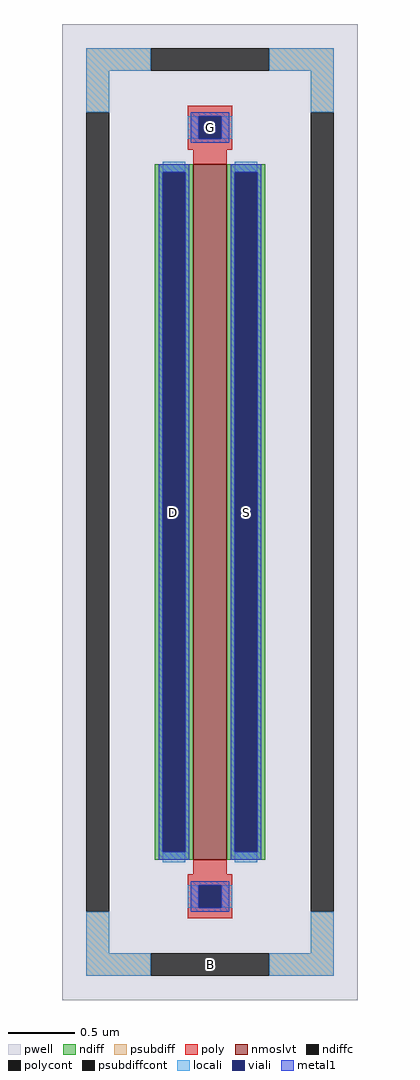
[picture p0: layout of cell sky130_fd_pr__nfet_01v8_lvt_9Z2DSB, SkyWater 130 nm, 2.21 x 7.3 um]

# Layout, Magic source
magic
tech sky130A
magscale 1 2
<< pwell >>
rect -221 -730 221 730
<< nmoslvt >>
rect -25 -520 25 520
<< ndiff >>
rect -83 508 -25 520
rect -83 -508 -71 508
rect -37 -508 -25 508
rect -83 -520 -25 -508
rect 25 508 83 520
rect 25 -508 37 508
rect 71 -508 83 508
rect 25 -520 83 -508
<< ndiffc >>
rect -71 -508 -37 508
rect 37 -508 71 508
<< psubdiff >>
rect -185 660 -89 694
rect 89 660 185 694
rect -185 598 -151 660
rect 151 598 185 660
rect -185 -660 -151 -598
rect 151 -660 185 -598
rect -185 -694 -89 -660
rect 89 -694 185 -660
<< psubdiffcont >>
rect -89 660 89 694
rect -185 -598 -151 598
rect 151 -598 185 598
rect -89 -694 89 -660
<< poly >>
rect -33 592 33 608
rect -33 558 -17 592
rect 17 558 33 592
rect -33 542 33 558
rect -25 520 25 542
rect -25 -542 25 -520
rect -33 -558 33 -542
rect -33 -592 -17 -558
rect 17 -592 33 -558
rect -33 -608 33 -592
<< polycont >>
rect -17 558 17 592
rect -17 -592 17 -558
<< locali >>
rect -185 660 -89 694
rect 89 660 185 694
rect -185 598 -151 660
rect 151 598 185 660
rect -33 558 -17 592
rect 17 558 33 592
rect -71 508 -37 524
rect -71 -524 -37 -508
rect 37 508 71 524
rect 37 -524 71 -508
rect -33 -592 -17 -558
rect 17 -592 33 -558
rect -185 -660 -151 -598
rect 151 -660 185 -598
rect -185 -694 -89 -660
rect 89 -694 185 -660
<< viali >>
rect -17 558 17 592
rect -71 -508 -37 508
rect 37 -508 71 508
rect -17 -592 17 -558
<< metal1 >>
rect -29 592 29 598
rect -29 558 -17 592
rect 17 558 29 592
rect -29 552 29 558
rect -77 508 -31 520
rect -77 -508 -71 508
rect -37 -508 -31 508
rect -77 -520 -31 -508
rect 31 508 77 520
rect 31 -508 37 508
rect 71 -508 77 508
rect 31 -520 77 -508
rect -29 -558 29 -552
rect -29 -592 -17 -558
rect 17 -592 29 -558
rect -29 -598 29 -592
<< labels >>
rlabel psubdiffcont 0 -677 0 -677 0 B
port 1 nsew
rlabel ndiffc -54 0 -54 0 0 D
port 2 nsew
rlabel ndiffc 54 0 54 0 0 S
port 3 nsew
rlabel polycont 0 575 0 575 0 G
port 4 nsew
<< properties >>
string FIXED_BBOX -168 -677 168 677
string gencell sky130_fd_pr__nfet_01v8_lvt
string library sky130
string parameters w 5.2 l 0.25 m 1 nf 1 diffcov 100 polycov 100 guard 1 glc 1 grc 1 gtc 1 gbc 1 tbcov 100 rlcov 100 topc 1 botc 1 poverlap 0 doverlap 1 lmin 0.15 wmin 0.42 class mosfet compatible {sky130_fd_pr__nfet_01v8 sky130_fd_pr__nfet_01v8_lvt  sky130_fd_bs_flash__special_sonosfet_star  sky130_fd_pr__nfet_g5v0d10v5 sky130_fd_pr__nfet_05v0_nvt  sky130_fd_pr__nfet_03v3_nvt} full_metal 1 conn_gates 0 viasrc 100 viadrn 100 viagate 100 viagb 0 viagr 0 viagl 0 viagt 0 doports 1
<< end >>
